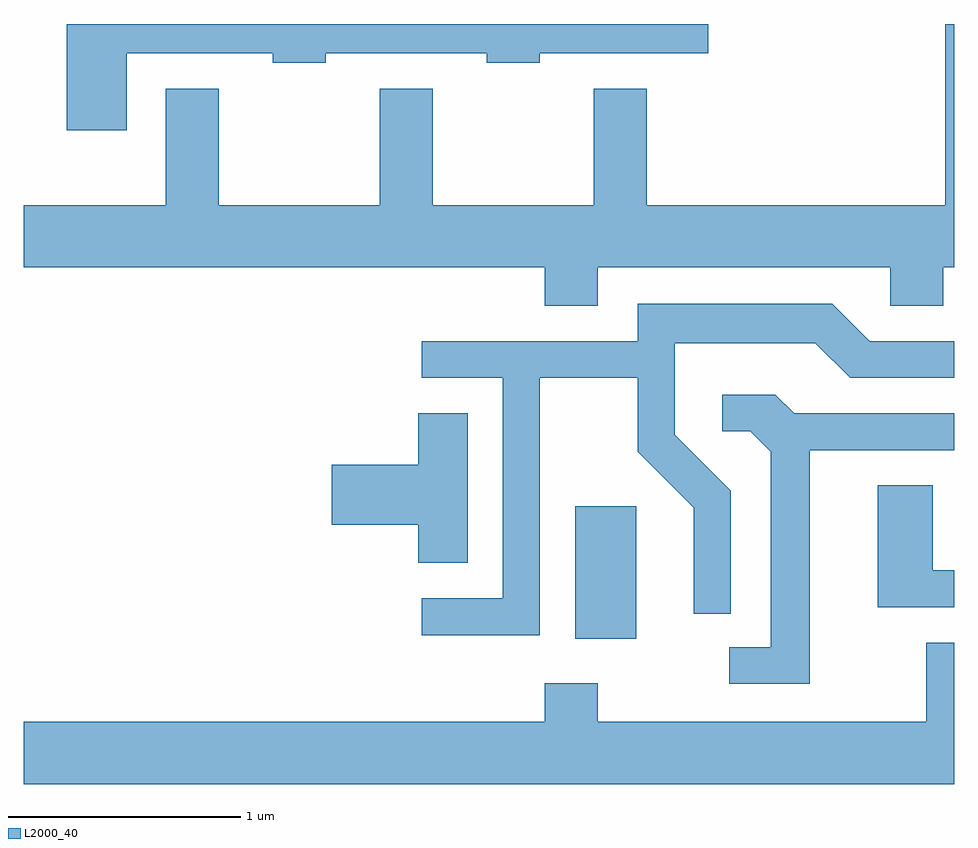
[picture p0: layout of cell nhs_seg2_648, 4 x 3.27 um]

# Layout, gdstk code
import gdstk
lib = gdstk.Library(unit=1e-6, precision=1e-09)
def R(c, l, rs):  # rectangles x0, y0, x1, y1
    for r in rs: c.add(gdstk.rectangle(r[:2], r[2:], *l))
def P(c, l, *ps):  # polygons
    for p in ps: c.add(gdstk.Polygon(p, *l))
L2000_40 = (2000, 40)

nhs_seg2_648 = lib.new_cell('nhs_seg2_648')
R(nhs_seg2_648, L2000_40, [(205.981,1051.161,206.244,1051.729)])
P(nhs_seg2_648, L2000_40, [(204.054,1053.676),(204.681,1053.676),(204.681,1053.636),(204.909,1053.636),(204.909,1053.676),(205.601,1053.676),(205.601,1053.636),(205.829,1053.636),(205.829,1053.676),(206.554,1053.676),(206.554,1053.802),(203.796,1053.802),(203.796,1053.346),(204.054,1053.346)],
  [(206.079,1052.756),(207.336,1052.756),(207.336,1052.591),(207.564,1052.591),(207.564,1052.756),(207.611,1052.756),(207.611,1053.802),(207.571,1053.802),(207.571,1053.024),(206.289,1053.024),(206.289,1053.524),(206.061,1053.524),(206.061,1053.024),(205.369,1053.024),(205.369,1053.524),(205.141,1053.524),(205.141,1053.024),(204.449,1053.024),(204.449,1053.524),(204.221,1053.524),(204.221,1053.024),(203.611,1053.024),(203.611,1052.756),(205.851,1052.756),(205.851,1052.591),(206.079,1052.591)],
  [(205.829,1052.281),(206.251,1052.281),(206.251,1051.964),(206.491,1051.724),(206.491,1051.268),(206.649,1051.268),(206.649,1051.797),(206.409,1052.037),(206.409,1052.431),(207.014,1052.431),(207.164,1052.281),(207.611,1052.281),(207.611,1052.439),(207.247,1052.439),(207.087,1052.599),(206.251,1052.599),(206.251,1052.439),(205.323,1052.439),(205.323,1052.281),(205.671,1052.281),(205.671,1051.334),(205.323,1051.334),(205.323,1051.176),(205.829,1051.176)],
  [(206.989,1051.971),(207.611,1051.971),(207.611,1052.129),(206.922,1052.129),(206.842,1052.209),(206.613,1052.209),(206.613,1052.051),(206.734,1052.051),(206.821,1051.964),(206.821,1051.124),(206.643,1051.124),(206.643,1050.966),(206.989,1050.966)],
  [(205.519,1052.129),(205.306,1052.129),(205.306,1051.909),(204.936,1051.909),(204.936,1051.651),(205.306,1051.651),(205.306,1051.486),(205.519,1051.486)],
  [(207.611,1051.454),(207.519,1051.454),(207.519,1051.819),(207.281,1051.819),(207.281,1051.296),(207.611,1051.296)],
  [(207.611,1051.144),(207.491,1051.144),(207.491,1050.804),(206.079,1050.804),(206.079,1050.969),(205.851,1050.969),(205.851,1050.804),(203.611,1050.804),(203.611,1050.536),(207.611,1050.536)])

lib.write_gds('nhs_seg2_648.gds')
